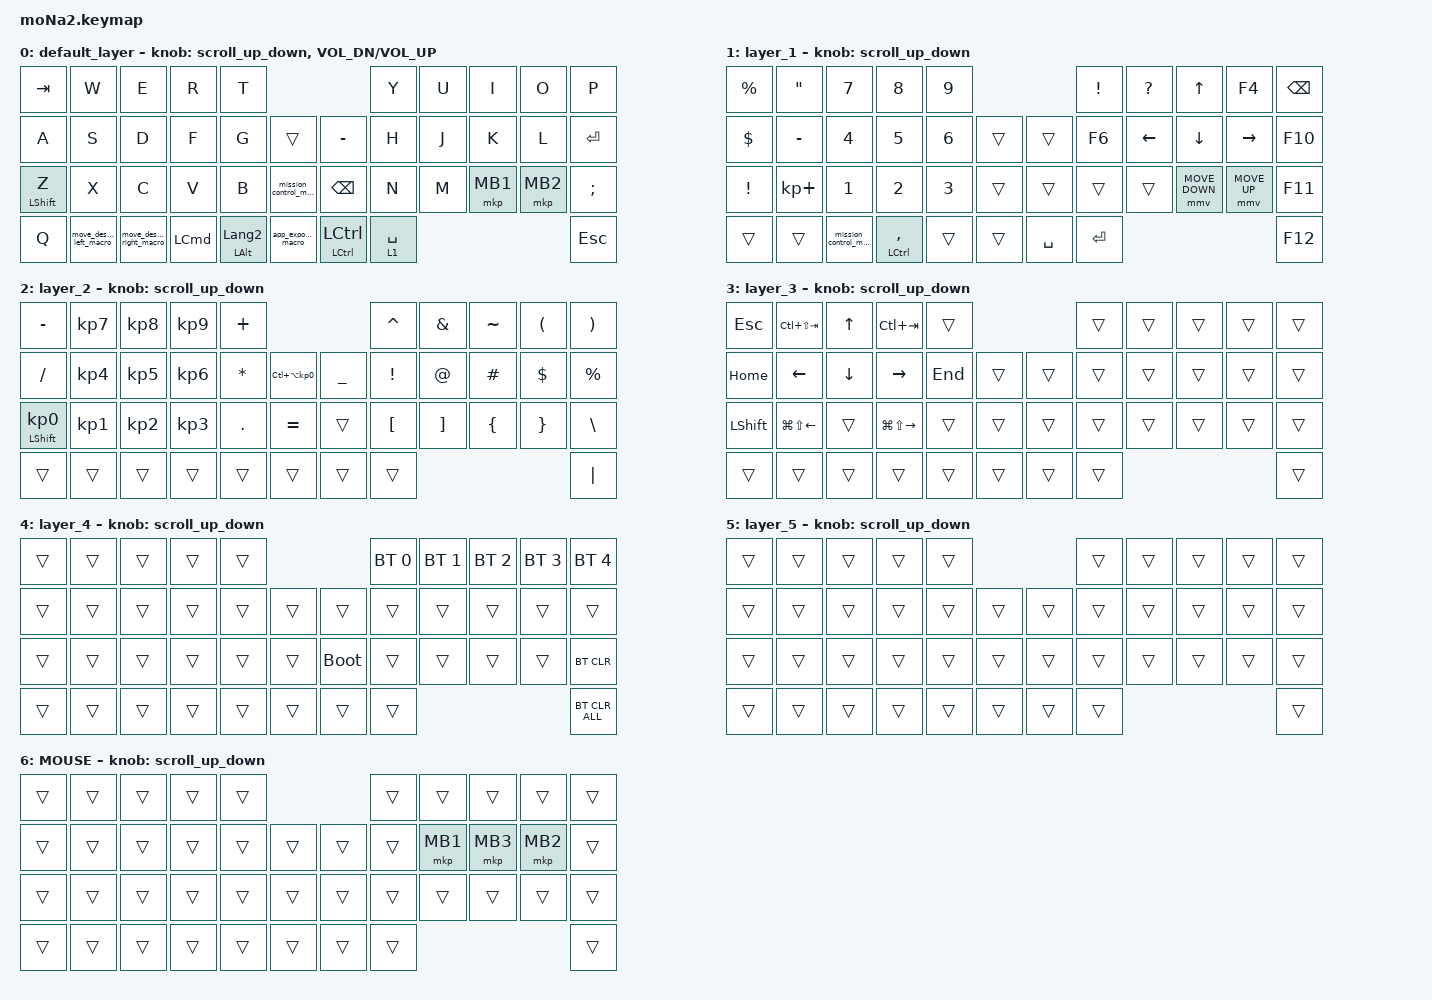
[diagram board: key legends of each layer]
#include <behaviors.dtsi>
#include <dt-bindings/zmk/bt.h>
#include <dt-bindings/zmk/keys.h>
#include <dt-bindings/zmk/pointing.h>
#include <dt-bindings/zmk/pointing.h>
#include <dt-bindings/zmk/pointing.h>

#define ZMK_POINTING_DEFAULT_SCRL_VAL 100
#define MOUSE 6

&mt {
    flavor = "balanced";
    quick-tap-ms = <0>;
};

/ {
    combos { compatible = "zmk,combos"; };

    macros {
        to_layer_0: to_layer_0 {
            compatible = "zmk,behavior-macro-one-param";
            #binding-cells = <1>;
            bindings = <&to 0 &macro_param_1to1 &kp MACRO_PLACEHOLDER>;
            label = "TO_LAYER_0";
        };

        mission_control_macro: new_macro {
            compatible = "zmk,behavior-macro";
            #binding-cells = <0>;
            bindings = <&kp LEFT_CONTROL &kp UP_ARROW>, <&macro_press>;

            label = "NEW_MACRO";
        };

        app_exposes_macro: app_exposes {
            compatible = "zmk,behavior-macro";
            #binding-cells = <0>;
            bindings = <&kp LEFT_CONTROL &kp DOWN>;
            label = "APP_EXPOSES";
        };

        move_desktop_left_macro: move_desktop_left_macro {
            compatible = "zmk,behavior-macro";
            #binding-cells = <0>;
            bindings = <&kp LEFT_CONTROL &kp LEFT>;
            label = "MOVE_DESKTOP_LEFT_MACRO";
        };

        move_desktop_right_macro: move_desktop_right_macro {
            compatible = "zmk,behavior-macro";
            #binding-cells = <0>;
            bindings = <&kp LEFT_CONTROL &kp RIGHT>;
            label = "MOVE_DESKTOP_RIGHT_MACRO";
        };
    };

    behaviors {
        lt_to_layer_0: lt_to_layer_0 {
            compatible = "zmk,behavior-hold-tap";
            label = "LAYER_TAP_TO_0";
            bindings = <&mo>, <&to_layer_0>;

            #binding-cells = <2>;
            tapping-term-ms = <200>;
        };

        scroll_up_down: behavior_sensor_rotate_mouse_wheel_up_down {
            compatible = "zmk,behavior-sensor-rotate";
            #sensor-binding-cells = <0>;
            bindings = <&msc SCRL_UP>, <&msc SCRL_DOWN>;

            tap-ms = <20>;
        };
    };

    keymap {
        compatible = "zmk,keymap";

        default_layer {
            bindings = <
&kp TAB           &kp W                     &kp E                      &kp R     &kp T                                                                             &kp Y        &kp U  &kp I     &kp O     &kp P
&kp A             &kp S                     &kp D                      &kp F     &kp G                    &trans                    &kp MINUS                      &kp H        &kp J  &kp K     &kp L     &kp ENTER
&mt LEFT_SHIFT Z  &kp X                     &kp C                      &kp V     &kp B                    &mission_control_macro    &kp BACKSPACE                  &kp N        &kp M  &mkp MB1  &mkp MB2  &kp SEMICOLON
&kp Q             &move_desktop_left_macro  &move_desktop_right_macro  &kp LCMD  &mt LEFT_ALT LANGUAGE_2  &app_exposes_macro        &mt LEFT_CONTROL LEFT_CONTROL  &lt 1 SPACE                             &kp ESC
            >;

            sensor-bindings =
                <&scroll_up_down>,
                <&inc_dec_kp C_VOL_DN C_VOL_UP>;
        };

        layer_1 {
            bindings = <
&kp PERCENT  &kp DOUBLE_QUOTES  &kp NUMBER_7            &kp N8                  &kp NUMBER_9                       &kp EXCLAMATION  &kp QUESTION  &kp UP_ARROW    &kp F4        &kp BACKSPACE
&kp DOLLAR   &kp MINUS          &kp NUMBER_4            &kp NUMBER_5            &kp NUMBER_6  &trans    &trans     &kp F6           &kp LEFT      &kp DOWN        &kp RIGHT     &kp F10
&kp EXCL     &kp KP_PLUS        &kp NUMBER_1            &kp NUMBER_2            &kp NUMBER_3  &trans    &trans     &trans           &trans        &mmv MOVE_DOWN  &mmv MOVE_UP  &kp F11
&trans       &trans             &mission_control_macro  &mt LEFT_CONTROL COMMA  &trans        &trans    &kp SPACE  &kp ENTER                                                    &kp F12
            >;

            sensor-bindings = <&scroll_up_down>;
        };

        layer_2 {
            bindings = <
&kp MINUS                   &kp KP_NUMBER_7  &kp KP_NUMBER_8  &kp KP_NUMBER_9  &kp PLUS                                                 &kp CARET         &kp AMPERSAND      &kp TILDE       &kp LEFT_PARENTHESIS  &kp RIGHT_PARENTHESIS
&kp SLASH                   &kp KP_NUMBER_4  &kp KP_NUMBER_5  &kp KP_NUMBER_6  &kp ASTERISK  &kp LC(LA(KP_NUMBER_0))    &kp UNDERSCORE  &kp EXCLAMATION   &kp AT_SIGN        &kp HASH        &kp DOLLAR            &kp PERCENT
&mt LEFT_SHIFT KP_NUMBER_0  &kp KP_NUMBER_1  &kp KP_NUMBER_2  &kp KP_NUMBER_3  &kp PERIOD    &kp EQUAL                  &trans          &kp LEFT_BRACKET  &kp RIGHT_BRACKET  &kp LEFT_BRACE  &kp RIGHT_BRACE       &kp BACKSLASH
&trans                      &trans           &trans           &trans           &trans        &trans                     &trans          &trans                                                                     &kp PIPE
            >;

            sensor-bindings = <&scroll_up_down>;
        };

        layer_3 {
            bindings = <
&kp ESCAPE      &kp LC(LS(TAB))         &kp UP_ARROW    &kp LC(TAB)              &trans                     &trans  &trans  &trans  &trans  &trans
&kp HOME        &kp LEFT_ARROW          &kp DOWN_ARROW  &kp RIGHT_ARROW          &kp END  &trans    &trans  &trans  &trans  &trans  &trans  &trans
&kp LEFT_SHIFT  &kp LG(LS(LEFT_ARROW))  &trans          &kp LG(LS(RIGHT_ARROW))  &trans   &trans    &trans  &trans  &trans  &trans  &trans  &trans
&trans          &trans                  &trans          &trans                   &trans   &trans    &trans  &trans                          &trans
            >;

            sensor-bindings = <&scroll_up_down>;
        };

        layer_4 {
            bindings = <
&trans  &trans  &trans  &trans  &trans                         &bt BT_SEL 0  &bt BT_SEL 1  &bt BT_SEL 2  &bt BT_SEL 3  &bt BT_SEL 4
&trans  &trans  &trans  &trans  &trans  &trans    &trans       &trans        &trans        &trans        &trans        &trans
&trans  &trans  &trans  &trans  &trans  &trans    &bootloader  &trans        &trans        &trans        &trans        &bt BT_CLR
&trans  &trans  &trans  &trans  &trans  &trans    &trans       &trans                                                  &bt BT_CLR_ALL
            >;

            sensor-bindings = <&scroll_up_down>;
        };

        layer_5 {
            bindings = <
&trans  &trans  &trans  &trans  &trans                    &trans  &trans  &trans  &trans  &trans
&trans  &trans  &trans  &trans  &trans  &trans    &trans  &trans  &trans  &trans  &trans  &trans
&trans  &trans  &trans  &trans  &trans  &trans    &trans  &trans  &trans  &trans  &trans  &trans
&trans  &trans  &trans  &trans  &trans  &trans    &trans  &trans                          &trans
            >;

            sensor-bindings = <&scroll_up_down>;
        };

        MOUSE {
            bindings = <
&trans  &trans  &trans  &trans  &trans                    &trans  &trans    &trans    &trans    &trans
&trans  &trans  &trans  &trans  &trans  &trans    &trans  &trans  &mkp MB1  &mkp MB3  &mkp MB2  &trans
&trans  &trans  &trans  &trans  &trans  &trans    &trans  &trans  &trans    &trans    &trans    &trans
&trans  &trans  &trans  &trans  &trans  &trans    &trans  &trans                                &trans
            >;

            sensor-bindings = <&scroll_up_down>;
        };
    };
};
